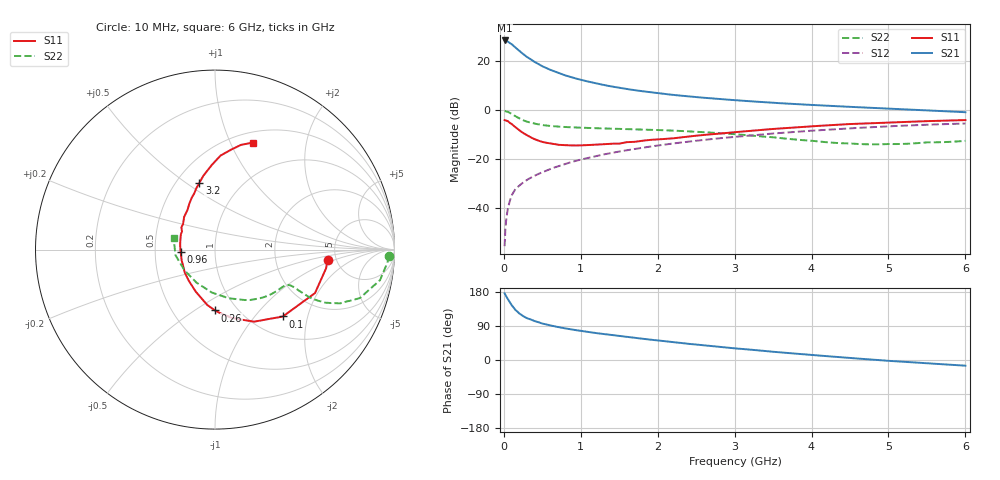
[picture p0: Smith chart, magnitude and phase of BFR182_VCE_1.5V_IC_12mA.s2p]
! Infineon Technologies  Discrete & RF Semiconductors
! BFR182
! VCE =  1.5 V,  IC =  12 mA
! Common Emitter S-Parameters:  Nov 2015
# GHz  S  MA  R  50
!  f  S11  S21  S12  S22
! GHz  MAG  ANG  MAG  ANG  MAG  ANG  MAG  ANG
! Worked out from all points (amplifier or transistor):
!   210 points, 10 MHz to 6 GHz, reference 50 ohm
!   highest |S21| = 28.5 dB at 10 MHz (marker M1)
!   |S21| within 3 dB of that: start of sweep to 155.6 MHz
!   unconditionally stable (mu >= 1): 642.7 MHz to 2.649 GHz
!   at 185 MHz: K = 0.58, MSG = 27.9 dB, |S12| = -31.1 dB
!   at 1.52 GHz: K = 1.06, MAG = 11.4 dB, |S12| = -16.7 dB
!   at 6 GHz: K = 0.91, MSG = 2.3 dB, |S12| = -5.4 dB
!   S11 on the Smith chart (normalised r, x): 10 MHz: 4.26, -0.79; 100 MHz: 1.37, -1.42; 260 MHz: 0.79, -0.61; 960 MHz: 0.68, -0.02; 3.2 GHz: 0.65, +0.56; 6 GHz: 0.61, +1.22
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0.01  0.6305 -5.1  26.56 176.0  0.0017 87.8  0.9718 -2.0
0.02  0.6275 -9.6  26.14 172.0  0.0038 86.7  0.9629 -4.4
0.05  0.6076 -23.5  25.31 161.0  0.0094 79.2  0.935 -10.5
0.1  0.5308 -44.6  22.44 145.0  0.0181 73.0  0.8512 -18.5
0.15  0.457 -61.5  19.13 132.1  0.0248 67.6  0.7578 -23.3
0.165  0.4352 -65.4  18.26 129.6  0.0261 67.2  0.7361 -23.9
0.2  0.3934 -75.9  16.38 122.9  0.0291 66.4  0.6859 -25.6
0.24  0.3544 -85.6  14.5 117.3  0.0328 66.2  0.6394 -26.4
0.26  0.3387 -90.1  13.69 114.8  0.0346 66.1  0.6196 -26.6
0.3  0.3113 -98.0  12.25 110.4  0.0381 66.3  0.587 -26.8
0.4  0.2581 -114.4  9.693 102.7  0.0464 67.0  0.5347 -26.3
0.5  0.2273 -129.8  7.912 96.1  0.0546 67.8  0.5008 -25.7
0.7  0.1988 -153.3  5.848 87.1  0.0719 68.9  0.4659 -25.4
0.96  0.1921 -176.6  4.352 78.1  0.0954 69.0  0.4448 -26.4
1.02  0.1935 178.0  4.118 76.3  0.1006 69.0  0.4408 -26.8
1.4  0.2088 155.2  3.058 66.0  0.1351 67.5  0.4239 -30.7
2.02  0.2563 130.2  2.218 51.2  0.1933 62.9  0.3961 -39.5
3.1  0.3692 105.0  1.57 29.2  0.2972 52.4  0.3164 -61.9
3.2  0.3807 103.3  1.531 27.4  0.3069 51.2  0.3066 -64.7
4.1  0.4826 90.9  1.264 11.6  0.3927 40.9  0.2307 -98.7
5.1  0.5708 79.9  1.069 -3.4  0.4794 28.2  0.2052 -151.3
6  0.6327 70.5  0.915 -15.0  0.5382 15.6  0.2386 164.7
